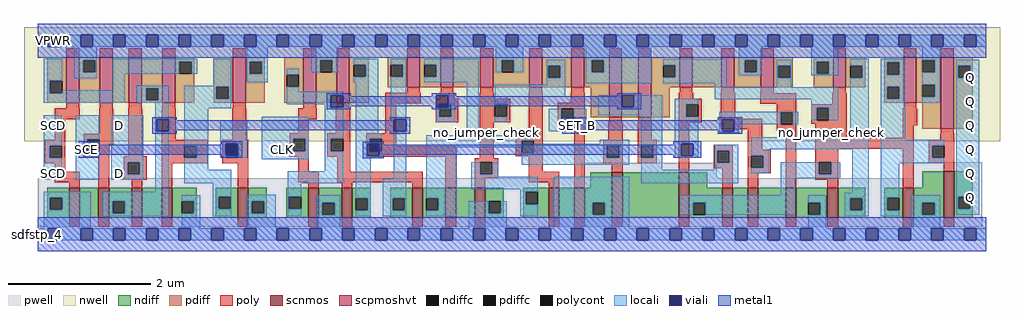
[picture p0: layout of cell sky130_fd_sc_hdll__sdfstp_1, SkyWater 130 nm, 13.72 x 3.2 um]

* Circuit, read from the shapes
.subckt sky130_fd_sc_hdll__sdfstp_1 CLK D SCD SCE SET_B VGND VNB VPB VPWR Q
XM1 n1 SCD VGND VNB sky130_fd_pr__nfet_01v8 w=0.42 l=0.15
XM2 n2 SCE n1 VNB sky130_fd_pr__nfet_01v8 w=0.42 l=0.15
XM3 n3 D n2 VNB sky130_fd_pr__nfet_01v8 w=0.42 l=0.15
XM4 VGND n4 n3 VNB sky130_fd_pr__nfet_01v8 w=0.42 l=0.15
XM5 VGND SCE n4 VNB sky130_fd_pr__nfet_01v8 w=0.42 l=0.15
XM6 VGND CLK n5 VNB sky130_fd_pr__nfet_01v8 w=0.42 l=0.15
XM7 n6 n5 VGND VNB sky130_fd_pr__nfet_01v8 w=0.42 l=0.15
XM8 n7 n5 n2 VNB sky130_fd_pr__nfet_01v8 w=0.42 l=0.15
XM9 n8 n6 n7 VNB sky130_fd_pr__nfet_01v8 w=0.42 l=0.15
XM10 VGND n9 n8 VNB sky130_fd_pr__nfet_01v8 w=0.42 l=0.15
XM11 n10 n7 n9 VNB sky130_fd_pr__nfet_01v8 w=0.42 l=0.15
XM12 VGND SET_B n10 VNB sky130_fd_pr__nfet_01v8 w=0.42 l=0.15
XM13 n11 n7 VGND VNB sky130_fd_pr__nfet_01v8 w=0.64 l=0.15
XM14 n12 n6 n11 VNB sky130_fd_pr__nfet_01v8 w=0.64 l=0.15
XM15 n13 n5 n12 VNB sky130_fd_pr__nfet_01v8 w=0.42 l=0.15
XM16 n14 n15 n13 VNB sky130_fd_pr__nfet_01v8 w=0.42 l=0.15
XM17 VGND SET_B n14 VNB sky130_fd_pr__nfet_01v8 w=0.42 l=0.15
XM18 n15 n12 VGND VNB sky130_fd_pr__nfet_01v8 w=0.42 l=0.15
XM19 VGND n12 n16 VNB sky130_fd_pr__nfet_01v8 w=0.42 l=0.15
XM20 Q n16 VGND VNB sky130_fd_pr__nfet_01v8 w=0.65 l=0.15
XM21 VPWR SCD n17 VPB sky130_fd_pr__pfet_01v8_hvt w=0.64 l=0.18
XM22 n18 SCE VPWR VPB sky130_fd_pr__pfet_01v8_hvt w=0.64 l=0.18
XM23 n2 D n18 VPB sky130_fd_pr__pfet_01v8_hvt w=0.64 l=0.18
XM24 n17 n4 n2 VPB sky130_fd_pr__pfet_01v8_hvt w=0.64 l=0.18
XM25 VPWR SCE n4 VPB sky130_fd_pr__pfet_01v8_hvt w=0.64 l=0.18
XM26 VPWR CLK n5 VPB sky130_fd_pr__pfet_01v8_hvt w=0.64 l=0.18
XM27 n6 n5 VPWR VPB sky130_fd_pr__pfet_01v8_hvt w=0.64 l=0.18
XM28 n7 n6 n2 VPB sky130_fd_pr__pfet_01v8_hvt w=0.42 l=0.18
XM29 n19 n5 n7 VPB sky130_fd_pr__pfet_01v8_hvt w=0.42 l=0.18
XM30 VPWR n9 n19 VPB sky130_fd_pr__pfet_01v8_hvt w=0.42 l=0.18
XM31 n9 n7 VPWR VPB sky130_fd_pr__pfet_01v8_hvt w=0.42 l=0.18
XM32 VPWR SET_B n9 VPB sky130_fd_pr__pfet_01v8_hvt w=0.42 l=0.18
XM33 n20 n7 VPWR VPB sky130_fd_pr__pfet_01v8_hvt w=0.84 l=0.18
XM34 n12 n5 n20 VPB sky130_fd_pr__pfet_01v8_hvt w=0.84 l=0.18
XM35 n21 n6 n12 VPB sky130_fd_pr__pfet_01v8_hvt w=0.42 l=0.18
XM36 VPWR n15 n21 VPB sky130_fd_pr__pfet_01v8_hvt w=0.42 l=0.18
XM37 n12 SET_B VPWR VPB sky130_fd_pr__pfet_01v8_hvt w=0.42 l=0.18
XM38 n15 n12 VPWR VPB sky130_fd_pr__pfet_01v8_hvt w=0.42 l=0.18
XM39 VPWR n12 n16 VPB sky130_fd_pr__pfet_01v8_hvt w=0.64 l=0.18
XM40 Q n16 VPWR VPB sky130_fd_pr__pfet_01v8_hvt w=1 l=0.18
.ends

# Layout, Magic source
magic
tech sky130A
magscale 1 2
<< nwell >>
rect -38 261 2706 582
<< pwell >>
rect 1528 157 1909 201
rect 2462 157 2656 203
rect 1 21 2656 157
rect 29 -17 63 21
<< scnmos >>
rect 89 47 119 131
rect 171 47 201 131
rect 265 47 295 131
rect 349 47 379 131
rect 563 47 593 131
rect 761 47 791 131
rect 855 47 885 131
rect 1053 47 1083 131
rect 1147 47 1177 131
rect 1229 47 1259 131
rect 1437 47 1467 131
rect 1509 47 1539 131
rect 1615 47 1645 175
rect 1803 47 1833 175
rect 1925 47 1955 131
rect 1997 47 2027 131
rect 2103 47 2133 131
rect 2221 47 2251 131
rect 2433 47 2463 131
rect 2548 47 2578 177
<< scpmoshvt >>
rect 81 369 117 497
rect 175 369 211 497
rect 257 369 293 497
rect 351 369 387 497
rect 549 369 585 497
rect 747 369 783 497
rect 841 369 877 497
rect 1039 413 1075 497
rect 1133 413 1169 497
rect 1245 413 1281 497
rect 1383 413 1419 497
rect 1501 413 1537 497
rect 1607 329 1643 497
rect 1689 329 1725 497
rect 1805 413 1841 497
rect 1923 413 1959 497
rect 2034 413 2070 497
rect 2237 413 2273 497
rect 2435 369 2471 497
rect 2540 297 2576 497
<< ndiff >>
rect 1554 131 1615 175
rect 27 103 89 131
rect 27 69 35 103
rect 69 69 89 103
rect 27 47 89 69
rect 119 47 171 131
rect 201 93 265 131
rect 201 59 211 93
rect 245 59 265 93
rect 201 47 265 59
rect 295 47 349 131
rect 379 93 447 131
rect 379 59 405 93
rect 439 59 447 93
rect 379 47 447 59
rect 501 105 563 131
rect 501 71 509 105
rect 543 71 563 105
rect 501 47 563 71
rect 593 93 645 131
rect 593 59 603 93
rect 637 59 645 93
rect 593 47 645 59
rect 699 105 761 131
rect 699 71 707 105
rect 741 71 761 105
rect 699 47 761 71
rect 791 89 855 131
rect 791 55 801 89
rect 835 55 855 89
rect 791 47 855 55
rect 885 101 937 131
rect 885 67 895 101
rect 929 67 937 101
rect 885 47 937 67
rect 991 101 1053 131
rect 991 67 999 101
rect 1033 67 1053 101
rect 991 47 1053 67
rect 1083 101 1147 131
rect 1083 67 1093 101
rect 1127 67 1147 101
rect 1083 47 1147 67
rect 1177 47 1229 131
rect 1259 93 1311 131
rect 1259 59 1269 93
rect 1303 59 1311 93
rect 1259 47 1311 59
rect 1365 119 1437 131
rect 1365 85 1373 119
rect 1407 85 1437 119
rect 1365 47 1437 85
rect 1467 47 1509 131
rect 1539 89 1615 131
rect 1539 55 1561 89
rect 1595 55 1615 89
rect 1539 47 1615 55
rect 1645 47 1803 175
rect 1833 131 1883 175
rect 2488 131 2548 177
rect 1833 89 1925 131
rect 1833 55 1843 89
rect 1877 55 1925 89
rect 1833 47 1925 55
rect 1955 47 1997 131
rect 2027 47 2103 131
rect 2133 89 2221 131
rect 2133 55 2167 89
rect 2201 55 2221 89
rect 2133 47 2221 55
rect 2251 101 2327 131
rect 2251 67 2285 101
rect 2319 67 2327 101
rect 2251 47 2327 67
rect 2381 102 2433 131
rect 2381 68 2389 102
rect 2423 68 2433 102
rect 2381 47 2433 68
rect 2463 89 2548 131
rect 2463 55 2488 89
rect 2522 55 2548 89
rect 2463 47 2548 55
rect 2578 105 2630 177
rect 2578 71 2588 105
rect 2622 71 2630 105
rect 2578 47 2630 71
<< pdiff >>
rect 27 431 81 497
rect 27 397 35 431
rect 69 397 81 431
rect 27 369 81 397
rect 117 489 175 497
rect 117 455 129 489
rect 163 455 175 489
rect 117 369 175 455
rect 211 369 257 497
rect 293 411 351 497
rect 293 377 305 411
rect 339 377 351 411
rect 293 369 351 377
rect 387 485 441 497
rect 387 451 399 485
rect 433 451 441 485
rect 387 369 441 451
rect 495 415 549 497
rect 495 381 503 415
rect 537 381 549 415
rect 495 369 549 381
rect 585 485 639 497
rect 585 451 597 485
rect 631 451 639 485
rect 585 369 639 451
rect 693 449 747 497
rect 693 415 701 449
rect 735 415 747 449
rect 693 369 747 415
rect 783 489 841 497
rect 783 455 795 489
rect 829 455 841 489
rect 783 369 841 455
rect 877 477 931 497
rect 877 443 889 477
rect 923 443 931 477
rect 877 369 931 443
rect 985 477 1039 497
rect 985 443 993 477
rect 1027 443 1039 477
rect 985 413 1039 443
rect 1075 477 1133 497
rect 1075 443 1087 477
rect 1121 443 1133 477
rect 1075 413 1133 443
rect 1169 413 1245 497
rect 1281 489 1383 497
rect 1281 455 1305 489
rect 1339 455 1383 489
rect 1281 413 1383 455
rect 1419 474 1501 497
rect 1419 440 1436 474
rect 1470 440 1501 474
rect 1419 413 1501 440
rect 1537 489 1607 497
rect 1537 455 1558 489
rect 1592 455 1607 489
rect 1537 413 1607 455
rect 1555 329 1607 413
rect 1643 329 1689 497
rect 1725 475 1805 497
rect 1725 441 1759 475
rect 1793 441 1805 475
rect 1725 413 1805 441
rect 1841 413 1923 497
rect 1959 489 2034 497
rect 1959 455 1988 489
rect 2022 455 2034 489
rect 1959 413 2034 455
rect 2070 474 2124 497
rect 2070 440 2082 474
rect 2116 440 2124 474
rect 2070 413 2124 440
rect 2183 485 2237 497
rect 2183 451 2191 485
rect 2225 451 2237 485
rect 2183 413 2237 451
rect 2273 474 2327 497
rect 2273 440 2285 474
rect 2319 440 2327 474
rect 2273 413 2327 440
rect 2381 483 2435 497
rect 2381 449 2389 483
rect 2423 449 2435 483
rect 2381 415 2435 449
rect 1725 329 1777 413
rect 2381 381 2389 415
rect 2423 381 2435 415
rect 2381 369 2435 381
rect 2471 489 2540 497
rect 2471 455 2488 489
rect 2522 455 2540 489
rect 2471 421 2540 455
rect 2471 387 2488 421
rect 2522 387 2540 421
rect 2471 369 2540 387
rect 2488 297 2540 369
rect 2576 474 2630 497
rect 2576 440 2588 474
rect 2622 440 2630 474
rect 2576 297 2630 440
<< ndiffc >>
rect 35 69 69 103
rect 211 59 245 93
rect 405 59 439 93
rect 509 71 543 105
rect 603 59 637 93
rect 707 71 741 105
rect 801 55 835 89
rect 895 67 929 101
rect 999 67 1033 101
rect 1093 67 1127 101
rect 1269 59 1303 93
rect 1373 85 1407 119
rect 1561 55 1595 89
rect 1843 55 1877 89
rect 2167 55 2201 89
rect 2285 67 2319 101
rect 2389 68 2423 102
rect 2488 55 2522 89
rect 2588 71 2622 105
<< pdiffc >>
rect 35 397 69 431
rect 129 455 163 489
rect 305 377 339 411
rect 399 451 433 485
rect 503 381 537 415
rect 597 451 631 485
rect 701 415 735 449
rect 795 455 829 489
rect 889 443 923 477
rect 993 443 1027 477
rect 1087 443 1121 477
rect 1305 455 1339 489
rect 1436 440 1470 474
rect 1558 455 1592 489
rect 1759 441 1793 475
rect 1988 455 2022 489
rect 2082 440 2116 474
rect 2191 451 2225 485
rect 2285 440 2319 474
rect 2389 449 2423 483
rect 2389 381 2423 415
rect 2488 455 2522 489
rect 2488 387 2522 421
rect 2588 440 2622 474
<< poly >>
rect 81 497 117 523
rect 175 497 211 523
rect 257 497 293 523
rect 351 497 387 523
rect 549 497 585 523
rect 747 497 783 523
rect 841 497 877 523
rect 1039 497 1075 523
rect 1133 497 1169 523
rect 1245 497 1281 523
rect 1383 497 1419 523
rect 1501 497 1537 523
rect 1607 497 1643 523
rect 1689 497 1725 523
rect 1805 497 1841 523
rect 1923 497 1959 523
rect 2034 497 2070 523
rect 2237 497 2273 523
rect 2435 497 2471 523
rect 2540 497 2576 523
rect 1039 398 1075 413
rect 1133 398 1169 413
rect 1245 398 1281 413
rect 1383 398 1419 413
rect 1501 398 1537 413
rect 81 354 117 369
rect 175 354 211 369
rect 257 354 293 369
rect 351 354 387 369
rect 549 354 585 369
rect 747 354 783 369
rect 841 354 877 369
rect 978 368 1077 398
rect 1131 381 1171 398
rect 1243 381 1283 398
rect 48 324 119 354
rect 48 265 78 324
rect 173 283 213 354
rect 21 249 78 265
rect 21 215 34 249
rect 68 215 78 249
rect 130 267 213 283
rect 130 233 140 267
rect 174 253 213 267
rect 174 233 201 253
rect 130 217 201 233
rect 255 219 295 354
rect 349 265 389 354
rect 547 265 587 354
rect 733 324 785 354
rect 733 284 763 324
rect 839 284 879 354
rect 978 284 1008 368
rect 1119 365 1183 381
rect 1119 331 1129 365
rect 1163 331 1183 365
rect 1119 315 1183 331
rect 1243 365 1329 381
rect 1243 331 1285 365
rect 1319 331 1329 365
rect 1243 315 1329 331
rect 709 268 763 284
rect 349 249 478 265
rect 21 199 78 215
rect 48 176 78 199
rect 48 146 119 176
rect 89 131 119 146
rect 171 131 201 217
rect 243 203 307 219
rect 243 169 253 203
rect 287 169 307 203
rect 243 153 307 169
rect 349 215 413 249
rect 447 215 478 249
rect 349 199 478 215
rect 520 249 593 265
rect 520 215 530 249
rect 564 215 593 249
rect 709 234 719 268
rect 753 234 763 268
rect 709 218 763 234
rect 815 268 879 284
rect 815 234 825 268
rect 859 234 879 268
rect 815 218 879 234
rect 924 268 1008 284
rect 924 234 934 268
rect 968 248 1008 268
rect 968 234 1177 248
rect 924 218 1177 234
rect 520 199 593 215
rect 265 131 295 153
rect 349 131 379 199
rect 563 131 593 199
rect 733 176 763 218
rect 842 176 879 218
rect 733 146 791 176
rect 842 146 1083 176
rect 761 131 791 146
rect 855 131 885 146
rect 1053 131 1083 146
rect 1147 131 1177 218
rect 1243 213 1283 315
rect 1381 273 1421 398
rect 1499 369 1539 398
rect 1463 353 1539 369
rect 1463 319 1473 353
rect 1507 319 1539 353
rect 1805 398 1841 413
rect 1923 398 1959 413
rect 2034 398 2070 413
rect 2237 398 2273 413
rect 1803 381 1843 398
rect 1803 365 1868 381
rect 1803 331 1824 365
rect 1858 331 1868 365
rect 1463 303 1539 319
rect 1607 314 1643 329
rect 1689 314 1725 329
rect 1803 315 1868 331
rect 1921 325 1961 398
rect 2032 397 2072 398
rect 2032 367 2133 397
rect 2079 343 2133 367
rect 2235 365 2275 398
rect 1345 263 1421 273
rect 1345 229 1361 263
rect 1395 229 1421 263
rect 1345 219 1421 229
rect 1229 203 1295 213
rect 1229 169 1245 203
rect 1279 169 1295 203
rect 1229 159 1295 169
rect 1381 176 1421 219
rect 1229 131 1259 159
rect 1381 146 1467 176
rect 1437 131 1467 146
rect 1509 131 1539 303
rect 1605 265 1645 314
rect 1591 249 1645 265
rect 1591 215 1601 249
rect 1635 215 1645 249
rect 1591 199 1645 215
rect 1687 265 1727 314
rect 1687 249 1741 265
rect 1687 215 1697 249
rect 1731 215 1741 249
rect 1687 199 1741 215
rect 1615 175 1645 199
rect 1803 175 1833 315
rect 1921 295 2037 325
rect 1901 235 1955 251
rect 1901 201 1911 235
rect 1945 201 1955 235
rect 1901 185 1955 201
rect 1925 131 1955 185
rect 1997 237 2037 295
rect 2079 309 2089 343
rect 2123 309 2133 343
rect 2175 355 2275 365
rect 2175 321 2191 355
rect 2225 321 2275 355
rect 2435 354 2471 369
rect 2175 311 2275 321
rect 2079 293 2133 309
rect 1997 221 2061 237
rect 1997 187 2007 221
rect 2041 187 2061 221
rect 1997 171 2061 187
rect 1997 131 2027 171
rect 2103 131 2133 293
rect 2187 271 2275 311
rect 2433 307 2473 354
rect 2433 271 2463 307
rect 2540 282 2576 297
rect 2187 241 2463 271
rect 2538 265 2578 282
rect 2187 203 2251 241
rect 2187 169 2197 203
rect 2231 169 2251 203
rect 2187 153 2251 169
rect 2221 131 2251 153
rect 2433 131 2463 241
rect 2505 249 2578 265
rect 2505 215 2515 249
rect 2549 215 2578 249
rect 2505 199 2578 215
rect 2548 177 2578 199
rect 89 21 119 47
rect 171 21 201 47
rect 265 21 295 47
rect 349 21 379 47
rect 563 21 593 47
rect 761 21 791 47
rect 855 21 885 47
rect 1053 21 1083 47
rect 1147 21 1177 47
rect 1229 21 1259 47
rect 1437 21 1467 47
rect 1509 21 1539 47
rect 1615 21 1645 47
rect 1803 21 1833 47
rect 1925 21 1955 47
rect 1997 21 2027 47
rect 2103 21 2133 47
rect 2221 21 2251 47
rect 2433 21 2463 47
rect 2548 21 2578 47
<< polycont >>
rect 34 215 68 249
rect 140 233 174 267
rect 1129 331 1163 365
rect 1285 331 1319 365
rect 253 169 287 203
rect 413 215 447 249
rect 530 215 564 249
rect 719 234 753 268
rect 825 234 859 268
rect 934 234 968 268
rect 1473 319 1507 353
rect 1824 331 1858 365
rect 1361 229 1395 263
rect 1245 169 1279 203
rect 1601 215 1635 249
rect 1697 215 1731 249
rect 1911 201 1945 235
rect 2089 309 2123 343
rect 2191 321 2225 355
rect 2007 187 2041 221
rect 2197 169 2231 203
rect 2515 215 2549 249
<< locali >>
rect 0 527 29 561
rect 63 527 121 561
rect 155 527 213 561
rect 247 527 305 561
rect 339 527 397 561
rect 431 527 489 561
rect 523 527 581 561
rect 615 527 673 561
rect 707 527 765 561
rect 799 527 857 561
rect 891 527 949 561
rect 983 527 1041 561
rect 1075 527 1133 561
rect 1167 527 1225 561
rect 1259 527 1317 561
rect 1351 527 1409 561
rect 1443 527 1501 561
rect 1535 527 1593 561
rect 1627 527 1685 561
rect 1719 527 1777 561
rect 1811 527 1869 561
rect 1903 527 1961 561
rect 1995 527 2053 561
rect 2087 527 2145 561
rect 2179 527 2237 561
rect 2271 527 2329 561
rect 2363 527 2421 561
rect 2455 527 2513 561
rect 2547 527 2605 561
rect 2639 527 2668 561
rect 17 431 69 493
rect 103 489 167 527
rect 103 455 129 489
rect 163 455 167 489
rect 103 439 167 455
rect 211 485 449 493
rect 211 451 399 485
rect 433 451 449 485
rect 17 397 35 431
rect 211 405 245 451
rect 494 417 544 493
rect 588 485 647 527
rect 588 451 597 485
rect 631 451 647 485
rect 769 489 845 527
rect 588 428 647 451
rect 701 449 735 465
rect 769 455 795 489
rect 829 455 845 489
rect 889 477 958 493
rect 69 397 245 405
rect 17 369 245 397
rect 279 411 369 417
rect 279 377 305 411
rect 339 377 369 411
rect 279 369 369 377
rect 17 249 68 335
rect 17 215 34 249
rect 17 153 68 215
rect 108 267 174 335
rect 108 255 140 267
rect 108 221 128 255
rect 162 221 174 233
rect 108 153 174 221
rect 208 203 297 335
rect 208 169 253 203
rect 287 169 297 203
rect 208 153 297 169
rect 331 323 369 369
rect 331 289 335 323
rect 331 119 369 289
rect 413 415 544 417
rect 413 381 503 415
rect 537 381 544 415
rect 413 354 544 381
rect 923 443 958 477
rect 889 427 958 443
rect 701 400 735 415
rect 701 391 859 400
rect 701 366 825 391
rect 807 357 825 366
rect 413 249 480 354
rect 447 215 480 249
rect 514 255 590 320
rect 514 221 529 255
rect 563 249 590 255
rect 514 215 530 221
rect 564 215 590 249
rect 631 268 763 330
rect 631 234 719 268
rect 753 234 763 268
rect 413 181 480 215
rect 631 211 763 234
rect 807 268 859 357
rect 807 234 825 268
rect 413 143 544 181
rect 807 177 859 234
rect 17 103 150 119
rect 17 69 35 103
rect 69 69 150 103
rect 17 17 150 69
rect 184 93 369 119
rect 184 59 211 93
rect 245 59 369 93
rect 184 51 369 59
rect 405 93 458 109
rect 439 59 458 93
rect 405 17 458 59
rect 492 105 544 143
rect 704 143 859 177
rect 895 284 958 427
rect 993 477 1036 493
rect 1027 443 1036 477
rect 993 323 1036 443
rect 1087 477 1241 493
rect 1121 443 1241 477
rect 1289 489 1366 527
rect 1289 455 1305 489
rect 1339 455 1366 489
rect 1431 474 1484 490
rect 1087 427 1241 443
rect 993 318 1002 323
rect 1155 365 1173 391
rect 1121 331 1129 357
rect 1163 331 1173 365
rect 1121 315 1173 331
rect 895 268 968 284
rect 895 254 934 268
rect 895 220 927 254
rect 961 220 968 234
rect 895 217 968 220
rect 492 71 509 105
rect 543 71 544 105
rect 492 51 544 71
rect 588 93 670 111
rect 588 59 603 93
rect 637 59 670 93
rect 588 17 670 59
rect 704 105 741 143
rect 704 71 707 105
rect 704 51 741 71
rect 785 89 851 109
rect 785 55 801 89
rect 835 55 851 89
rect 785 17 851 55
rect 895 101 937 217
rect 1002 156 1036 289
rect 1207 279 1241 427
rect 1431 440 1436 474
rect 1470 440 1484 474
rect 1431 421 1484 440
rect 1542 489 1725 527
rect 1542 455 1558 489
rect 1592 455 1725 489
rect 1542 425 1725 455
rect 1759 475 1938 492
rect 1793 441 1938 475
rect 1972 489 2038 527
rect 1972 455 1988 489
rect 2022 455 2038 489
rect 1972 447 2038 455
rect 2079 474 2119 490
rect 1759 425 1938 441
rect 1285 387 1484 421
rect 1904 413 1938 425
rect 2079 440 2082 474
rect 2116 440 2119 474
rect 2175 485 2251 527
rect 2175 451 2191 485
rect 2225 451 2251 485
rect 2175 447 2251 451
rect 2285 474 2337 493
rect 2079 413 2119 440
rect 2319 440 2337 474
rect 1285 365 1319 387
rect 1577 357 1642 391
rect 1676 357 1757 391
rect 1285 315 1319 331
rect 1438 319 1473 353
rect 1507 323 1543 353
rect 1577 334 1757 357
rect 1438 289 1487 319
rect 1521 289 1543 323
rect 929 67 937 101
rect 895 51 937 67
rect 971 101 1036 156
rect 971 67 999 101
rect 1033 67 1036 101
rect 971 51 1036 67
rect 1093 263 1395 279
rect 1093 245 1361 263
rect 1093 101 1178 245
rect 1581 255 1663 265
rect 1395 249 1663 255
rect 1395 229 1601 249
rect 1361 215 1601 229
rect 1635 215 1663 249
rect 1219 169 1245 203
rect 1279 169 1295 203
rect 1361 195 1663 215
rect 1697 249 1757 334
rect 1731 215 1757 249
rect 1791 365 1858 381
rect 1904 379 2251 413
rect 1791 331 1824 365
rect 2175 355 2251 379
rect 1791 255 1858 331
rect 1916 343 2139 345
rect 1916 323 2089 343
rect 1916 289 1925 323
rect 1959 309 2089 323
rect 2123 309 2139 343
rect 2175 321 2191 355
rect 2225 321 2251 355
rect 1959 289 1972 309
rect 1916 285 1972 289
rect 2285 273 2337 440
rect 1791 221 1810 255
rect 1844 221 1858 255
rect 1791 215 1858 221
rect 1904 235 1970 251
rect 1219 161 1295 169
rect 1697 181 1757 215
rect 1904 201 1911 235
rect 1945 201 1970 235
rect 1904 181 1970 201
rect 1219 127 1407 161
rect 1127 67 1178 101
rect 1357 119 1407 127
rect 1093 51 1178 67
rect 1212 59 1269 93
rect 1303 59 1319 93
rect 1212 17 1319 59
rect 1357 85 1373 119
rect 1357 51 1407 85
rect 1451 89 1663 161
rect 1697 144 1970 181
rect 2007 239 2337 273
rect 2007 221 2056 239
rect 2041 187 2056 221
rect 2007 171 2056 187
rect 2090 169 2197 203
rect 2231 169 2257 203
rect 2090 157 2257 169
rect 2090 109 2130 157
rect 2291 117 2337 239
rect 1451 55 1561 89
rect 1595 55 1663 89
rect 1805 89 2130 109
rect 1805 55 1843 89
rect 1877 55 2130 89
rect 2167 89 2217 109
rect 2201 55 2217 89
rect 1451 17 1663 55
rect 2167 17 2217 55
rect 2269 101 2337 117
rect 2269 67 2285 101
rect 2319 67 2337 101
rect 2269 51 2337 67
rect 2371 483 2439 493
rect 2371 449 2389 483
rect 2423 449 2439 483
rect 2371 415 2439 449
rect 2371 381 2389 415
rect 2423 381 2439 415
rect 2371 265 2439 381
rect 2487 489 2538 527
rect 2487 455 2488 489
rect 2522 455 2538 489
rect 2487 421 2538 455
rect 2487 387 2488 421
rect 2522 387 2538 421
rect 2487 369 2538 387
rect 2583 474 2648 490
rect 2583 440 2588 474
rect 2622 440 2648 474
rect 2371 249 2549 265
rect 2371 215 2515 249
rect 2371 199 2549 215
rect 2371 102 2423 199
rect 2371 68 2389 102
rect 2371 51 2423 68
rect 2457 89 2538 110
rect 2457 55 2488 89
rect 2522 55 2538 89
rect 2583 105 2648 440
rect 2583 71 2588 105
rect 2622 71 2648 105
rect 2583 55 2648 71
rect 2457 17 2538 55
rect 0 -17 29 17
rect 63 -17 121 17
rect 155 -17 213 17
rect 247 -17 305 17
rect 339 -17 397 17
rect 431 -17 489 17
rect 523 -17 581 17
rect 615 -17 673 17
rect 707 -17 765 17
rect 799 -17 857 17
rect 891 -17 949 17
rect 983 -17 1041 17
rect 1075 -17 1133 17
rect 1167 -17 1225 17
rect 1259 -17 1317 17
rect 1351 -17 1409 17
rect 1443 -17 1501 17
rect 1535 -17 1593 17
rect 1627 -17 1685 17
rect 1719 -17 1777 17
rect 1811 -17 1869 17
rect 1903 -17 1961 17
rect 1995 -17 2053 17
rect 2087 -17 2145 17
rect 2179 -17 2237 17
rect 2271 -17 2329 17
rect 2363 -17 2421 17
rect 2455 -17 2513 17
rect 2547 -17 2605 17
rect 2639 -17 2668 17
<< viali >>
rect 29 527 63 561
rect 121 527 155 561
rect 213 527 247 561
rect 305 527 339 561
rect 397 527 431 561
rect 489 527 523 561
rect 581 527 615 561
rect 673 527 707 561
rect 765 527 799 561
rect 857 527 891 561
rect 949 527 983 561
rect 1041 527 1075 561
rect 1133 527 1167 561
rect 1225 527 1259 561
rect 1317 527 1351 561
rect 1409 527 1443 561
rect 1501 527 1535 561
rect 1593 527 1627 561
rect 1685 527 1719 561
rect 1777 527 1811 561
rect 1869 527 1903 561
rect 1961 527 1995 561
rect 2053 527 2087 561
rect 2145 527 2179 561
rect 2237 527 2271 561
rect 2329 527 2363 561
rect 2421 527 2455 561
rect 2513 527 2547 561
rect 2605 527 2639 561
rect 128 233 140 255
rect 140 233 162 255
rect 128 221 162 233
rect 335 289 369 323
rect 825 357 859 391
rect 529 249 563 255
rect 529 221 530 249
rect 530 221 563 249
rect 1002 289 1036 323
rect 1121 365 1155 391
rect 1121 357 1129 365
rect 1129 357 1155 365
rect 927 234 934 254
rect 934 234 961 254
rect 927 220 961 234
rect 1642 357 1676 391
rect 1487 319 1507 323
rect 1507 319 1521 323
rect 1487 289 1521 319
rect 1925 289 1959 323
rect 1810 221 1844 255
rect 29 -17 63 17
rect 121 -17 155 17
rect 213 -17 247 17
rect 305 -17 339 17
rect 397 -17 431 17
rect 489 -17 523 17
rect 581 -17 615 17
rect 673 -17 707 17
rect 765 -17 799 17
rect 857 -17 891 17
rect 949 -17 983 17
rect 1041 -17 1075 17
rect 1133 -17 1167 17
rect 1225 -17 1259 17
rect 1317 -17 1351 17
rect 1409 -17 1443 17
rect 1501 -17 1535 17
rect 1593 -17 1627 17
rect 1685 -17 1719 17
rect 1777 -17 1811 17
rect 1869 -17 1903 17
rect 1961 -17 1995 17
rect 2053 -17 2087 17
rect 2145 -17 2179 17
rect 2237 -17 2271 17
rect 2329 -17 2363 17
rect 2421 -17 2455 17
rect 2513 -17 2547 17
rect 2605 -17 2639 17
<< metal1 >>
rect 0 561 2668 592
rect 0 527 29 561
rect 63 527 121 561
rect 155 527 213 561
rect 247 527 305 561
rect 339 527 397 561
rect 431 527 489 561
rect 523 527 581 561
rect 615 527 673 561
rect 707 527 765 561
rect 799 527 857 561
rect 891 527 949 561
rect 983 527 1041 561
rect 1075 527 1133 561
rect 1167 527 1225 561
rect 1259 527 1317 561
rect 1351 527 1409 561
rect 1443 527 1501 561
rect 1535 527 1593 561
rect 1627 527 1685 561
rect 1719 527 1777 561
rect 1811 527 1869 561
rect 1903 527 1961 561
rect 1995 527 2053 561
rect 2087 527 2145 561
rect 2179 527 2237 561
rect 2271 527 2329 561
rect 2363 527 2421 561
rect 2455 527 2513 561
rect 2547 527 2605 561
rect 2639 527 2668 561
rect 0 496 2668 527
rect 813 391 881 397
rect 813 357 825 391
rect 859 388 881 391
rect 1109 391 1177 397
rect 1109 388 1121 391
rect 859 360 1121 388
rect 859 357 881 360
rect 813 351 881 357
rect 1109 357 1121 360
rect 1155 388 1177 391
rect 1630 391 1698 397
rect 1630 388 1642 391
rect 1155 360 1642 388
rect 1155 357 1177 360
rect 1109 351 1177 357
rect 1630 357 1642 360
rect 1676 357 1698 391
rect 1630 351 1698 357
rect 323 323 391 329
rect 323 289 335 323
rect 369 320 391 323
rect 990 323 1048 329
rect 990 320 1002 323
rect 369 292 1002 320
rect 369 289 391 292
rect 323 283 391 289
rect 990 289 1002 292
rect 1036 289 1048 323
rect 990 283 1048 289
rect 1475 323 1543 329
rect 1475 289 1487 323
rect 1521 320 1543 323
rect 1913 323 1981 329
rect 1913 320 1925 323
rect 1521 292 1925 320
rect 1521 289 1543 292
rect 1475 283 1543 289
rect 1913 289 1925 292
rect 1959 289 1981 323
rect 1913 283 1981 289
rect 116 255 174 261
rect 116 221 128 255
rect 162 252 174 255
rect 517 255 575 261
rect 517 252 529 255
rect 162 224 529 252
rect 162 221 174 224
rect 116 215 174 221
rect 517 221 529 224
rect 563 221 575 255
rect 517 215 575 221
rect 915 254 973 260
rect 915 220 927 254
rect 961 252 973 254
rect 1788 255 1866 261
rect 1788 252 1810 255
rect 961 224 1810 252
rect 961 220 973 224
rect 915 214 973 220
rect 1788 221 1810 224
rect 1844 221 1866 255
rect 1788 215 1866 221
rect 0 17 2668 48
rect 0 -17 29 17
rect 63 -17 121 17
rect 155 -17 213 17
rect 247 -17 305 17
rect 339 -17 397 17
rect 431 -17 489 17
rect 523 -17 581 17
rect 615 -17 673 17
rect 707 -17 765 17
rect 799 -17 857 17
rect 891 -17 949 17
rect 983 -17 1041 17
rect 1075 -17 1133 17
rect 1167 -17 1225 17
rect 1259 -17 1317 17
rect 1351 -17 1409 17
rect 1443 -17 1501 17
rect 1535 -17 1593 17
rect 1627 -17 1685 17
rect 1719 -17 1777 17
rect 1811 -17 1869 17
rect 1903 -17 1961 17
rect 1995 -17 2053 17
rect 2087 -17 2145 17
rect 2179 -17 2237 17
rect 2271 -17 2329 17
rect 2363 -17 2421 17
rect 2455 -17 2513 17
rect 2547 -17 2605 17
rect 2639 -17 2668 17
rect 0 -48 2668 -17
<< labels >>
flabel comment s 1263 286 1263 286 0 FreeSans 200 0 0 0 no_jumper_check
rlabel comment s 0 0 0 0 4 sdfstp_4
flabel comment s 2233 287 2233 287 0 FreeSans 200 0 0 0 no_jumper_check
flabel metal1 s 121 221 155 255 0 FreeSans 200 0 0 0 SCE
port 4 nsew signal input
flabel metal1 s 1501 289 1535 323 0 FreeSans 200 0 0 0 SET_B
port 5 nsew signal input
flabel metal1 s 29 527 63 561 0 FreeSans 200 0 0 0 VPWR
port 9 nsew power bidirectional
flabel metal1 s 29 -17 63 17 0 FreeSans 200 0 0 0 VGND
port 6 nsew ground bidirectional
flabel locali s 673 221 707 255 0 FreeSans 200 0 0 0 CLK
port 1 nsew signal input
flabel locali s 213 153 247 187 0 FreeSans 200 0 0 0 D
port 2 nsew signal input
flabel locali s 29 289 63 323 0 FreeSans 200 0 0 0 SCD
port 3 nsew signal input
flabel locali s 213 289 247 323 0 FreeSans 200 0 0 0 D
port 2 nsew signal input
flabel locali s 29 153 63 187 0 FreeSans 200 0 0 0 SCD
port 3 nsew signal input
flabel locali s 2607 357 2641 391 0 FreeSans 200 0 0 0 Q
port 10 nsew signal output
flabel locali s 2607 425 2641 459 0 FreeSans 200 0 0 0 Q
port 10 nsew signal output
flabel locali s 2607 221 2641 255 0 FreeSans 200 0 0 0 Q
port 10 nsew signal output
flabel locali s 2607 153 2641 187 0 FreeSans 200 0 0 0 Q
port 10 nsew signal output
flabel locali s 2607 85 2641 119 0 FreeSans 200 0 0 0 Q
port 10 nsew signal output
flabel locali s 2607 289 2641 323 0 FreeSans 200 0 0 0 Q
port 10 nsew signal output
flabel nwell s 29 527 63 561 0 FreeSans 200 0 0 0 VPB
port 8 nsew power bidirectional
flabel pwell s 29 -17 63 17 0 FreeSans 200 0 0 0 VNB
port 7 nsew ground bidirectional
<< properties >>
string LEFsite unithd
string LEFclass CORE
string FIXED_BBOX 0 0 2668 544
string GDS_FILE $PDKPATH/libs.ref/sky130_fd_sc_hdll/gds/sky130_fd_sc_hdll.gds
string LEFsymmetry X Y R90
string GDS_END 277014
string GDS_START 257518
string LEFproperties maskLayoutSubType "abstract" prCellType "standard" originalViewName "layout"
<< end >>
